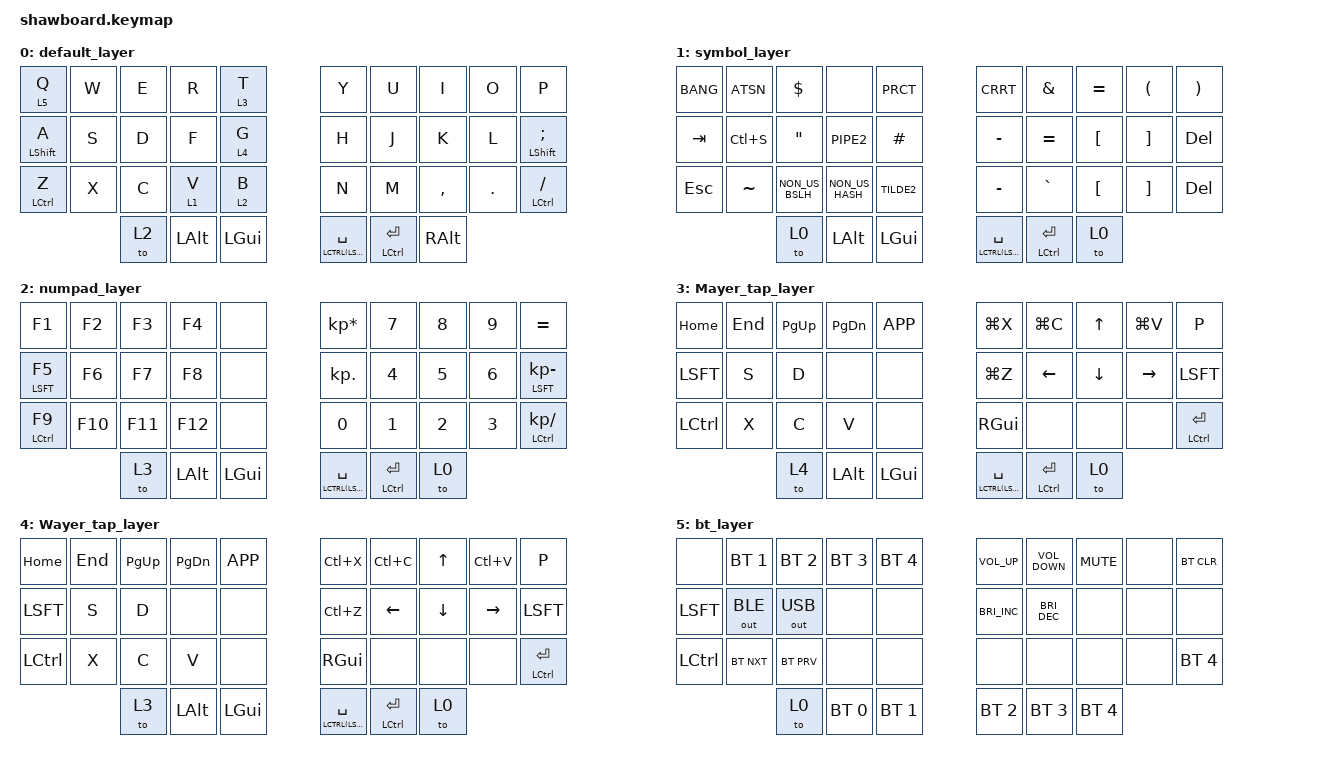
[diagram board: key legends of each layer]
/*
 * Copyright (c) 2020 The ZMK Contributors
 *
 * SPDX-License-Identifier: MIT 
 */

#include <behaviors.dtsi>
#include <dt-bindings/zmk/keys.h>
#include <dt-bindings/zmk/bt.h>
#include <dt-bindings/zmk/outputs.h>


/* macros
*/
/ {
    macros {
        sig: sig {
            label = "sig";
            compatible = "zmk,behavior-macro";
	    wait-ms = <35>;
	    tap-ms = <35>;
            #binding-cells = <0>;
            bindings
                = <&macro_tap &kp LS(J) &kp I &kp M &kp SPACE &kp LS(S) &kp H &kp A &kp W &kp RET> 
		, <&macro_tap &kp J &kp I &kp M &kp ATSN &kp J &kp I &kp M &kp S &kp H &kp A &kp W &kp DOT &kp C &kp O &kp M &kp RET>
		;
        };
	
	signum: signum {
            label = "signum";
            compatible = "zmk,behavior-macro";
	    wait-ms = <35>;
	    tap-ms = <35>;
            #binding-cells = <0>;
            bindings
                = <&macro_tap &kp N0 &kp N4 &kp N6 &kp N7 &kp SPACE &kp N7 &kp N2 &kp N4 &kp SPACE &kp N4 &kp N3 &kp N1 &kp RET>
		;
        };
    };
};


&mt {
    flavor = "balanced";
   tapping_term_ms = <275>;
};
&lt {
   flavor = "tap-preferred";
    tapping_term_ms = <300>;
};
/ { 

    combos {
        compatible = "zmk,combos";
        combo_esc {
            timeout-ms = <40>;
            key-positions = <0 1>;
            bindings = <&kp ESC>;
        }; 

        combo_tilde {
            timeout-ms = <40>;
            key-positions = <1 2>;
            bindings = <&kp GRAVE>;
        };        
        combo_bspcl {
            timeout-ms = <40>;
            key-positions = <3 4>;
            bindings = <&kp BSPC>;
        };
           combo_tab {
            timeout-ms = <40>;
            key-positions = <10 11>;
            bindings = <&kp TAB>;
        };


           combo_word {
            timeout-ms = <40>;
            key-positions = <5 6 7>;
            bindings = <&kp LC(BSPC)>;
        };









        combo_bspc {
            timeout-ms = <40>;
            key-positions = <6 7>;
            bindings = <&kp BSPC>;
        };

           combo_del {
            timeout-ms = <40>;
            key-positions = <7 8>;
            bindings = <&kp DEL>;
        };
           combo_pipe {
            timeout-ms = <40>;
            key-positions = <8 9>;
            bindings = <&kp BSLH>;
        };
        
           combo_dash {
            timeout-ms = <40>;
            key-positions = <15 16>;
            bindings = <&kp MINUS>;
        };


           combo_qmrk {
            timeout-ms = <40>;
            key-positions = <16 17>;
            bindings = <&kp SINGLE_QUOTE>;
        };


        combo_excl {
            timeout-ms = <40>;
            key-positions = <16 17 18>;
            bindings = <&kp EXCL>;
        };

           combo_lpar {
            timeout-ms = <40>;
            key-positions = <26 27>;
            bindings = <&kp LPAR>;
        };

           combo_rpar {
            timeout-ms = <40>;
            key-positions = <27 28>;
            bindings = <&kp RPAR>;
        };
           combo_lbr {
            timeout-ms = <40>;
            key-positions = <25 26 27>;
            bindings = <&kp LEFT_BRACKET>;
        };

           combo_rbr {
            timeout-ms = <40>;
            key-positions = <26 27 28>;
            bindings = <&kp RIGHT_BRACKET>;
        };
    };




        keymap {
                compatible = "zmk,keymap";            
       	default_layer {
		bindings = <
		&lt 5 Q  &kp W  &kp E  &kp R  &lt 3 T 	   &kp Y  &kp U   &kp I   &kp O   &kp P 
		&mt LSHFT A    &kp S  &kp D  &kp F  &lt 4 G	   &kp H  &kp J   &kp K   &kp L   &mt LSHFT SEMI
		&mt LCTRL Z  &kp X  &kp C  &lt 1 V &lt 2 B &kp N  &kp M   &kp CMMA &kp DOT &mt LCTRL FSLH
                                &to 2  &kp LALT &kp LGUI   &mt LCTRL(LSHFT(LALT(LGUI))) SPACE &mt LCTRL RET   &kp RALT
		>;
		};

       	symbol_layer {
		bindings = <
	        &kp BANG &kp ATSN  &kp DLLR  &none     &kp PRCT    	&kp CRRT    &kp AMPS   &kp EQUAL   &kp LPRN   &kp RPRN 
		&kp TAB  &kp LC(S) &kp DQT   &kp PIPE2 &kp HASH		&kp MINUS   &kp EQL    &kp LBKT    &kp RBKT   &kp DEL 
		&kp ESC  &kp TILDE &kp NON_US_BSLH &kp NON_US_HASH &kp TILDE2       &kp MINUS  &kp GRAVE   &kp LBKT   &kp RBKT        &kp DEL 
				   &to 0     &kp LALT  &kp LGUI 	&mt LCTRL(LSHFT(LALT(LGUI))) SPACE   &mt LCTRL RET   &to 0
		>;
		};

		
		numpad_layer {
		bindings = <
		&kp F1	        &kp F2    &kp F3       &kp F4    &none          &kp KP_MULTIPLY &kp N7          &kp N8          &kp N9           &kp EQUAL
		&mt LSFT F5		&kp F6    &kp F7       &kp F8    &none          &kp KP_DOT      &kp N4          &kp N5          &kp N6           &mt LSFT KP_MINUS
		&mt LCTRL F9	&kp F10   &kp F11      &kp F12   &none   	&kp N0          &kp N1          &kp N2          &kp N3           &mt LCTRL KP_DIVIDE
                                       &to 3        &kp LALT  &kp LGUI  	&mt LCTRL(LSHFT(LALT(LGUI))) SPACE       &mt LCTRL RET  &to 0
		>;
		};	
			
		
		Mayer_tap_layer {
		bindings = <		
		&kp HOME    &kp END      &kp PAGE_UP   &kp PAGE_DOWN  &kp K_APP	&kp LG(X)      &kp LG(C)      &kp UP       &kp LG(V)    &kp P 
		&kp LSFT    &kp S        &kp D         &none       &none	&kp LG(Z)      &kp LEFT       &kp DOWN     &kp RIGHT    &kp LSFT
		&kp LCTRL   &kp X        &kp C         &kp V       &none    	&kp RGUI          &none          &none        &none        &mt LCTRL RET
				         &to 4   &kp LALT    &kp LGUI  	&mt LCTRL(LSHFT(LALT(LGUI))) SPACE      &mt LCTRL RET	      &to 0
		>;
		};
		
		Wayer_tap_layer {
		bindings = <		
		&kp HOME    &kp END      &kp PAGE_UP   &kp PAGE_DOWN &kp K_APP	    &kp LC(X)      &kp LC(C)      &kp UP       &kp LC(V)    &kp P
		&kp LSFT    &kp S        &kp D        &none          &none          &kp LC(Z)      &kp LEFT       &kp DOWN     &kp RIGHT    &kp LSFT
		&kp LCTRL   &kp X        &kp C        &kp V          &none    	    &kp RGUI          &none          &none        &none        &mt LCTRL RET
                                         &to 3        &kp LALT       &kp LGUI  	    &mt LCTRL(LSHFT(LALT(LGUI))) SPACE      &mt LCTRL RET	&to 0
		>;
		};


		bt_layer {
		bindings = <
		&none      &bt BT_SEL 1    &bt BT_SEL 2    &bt BT_SEL 3   &bt BT_SEL 4	&kp C_VOLUME_UP       &kp C_VOLUME_DOWN     &kp C_MUTE  &none  &bt BT_CLR
		&kp LSFT   &out OUT_BLE    &out OUT_USB    &none          &none		&kp C_BRIGHTNESS_INC  &kp C_BRIGHTNESS_DEC  &none       &none  &none
		&kp LCTRL  &bt BT_NXT      &bt BT_PRV      &none          &none   	&none                 &none                 &none       &none  &bt BT_SEL 4
                                           &to 0           &bt BT_SEL 0	&bt BT_SEL 1	&bt BT_SEL 2	&bt BT_SEL 3    &bt BT_SEL 4
		>;
		};	


		
		
        
	};
  
};
